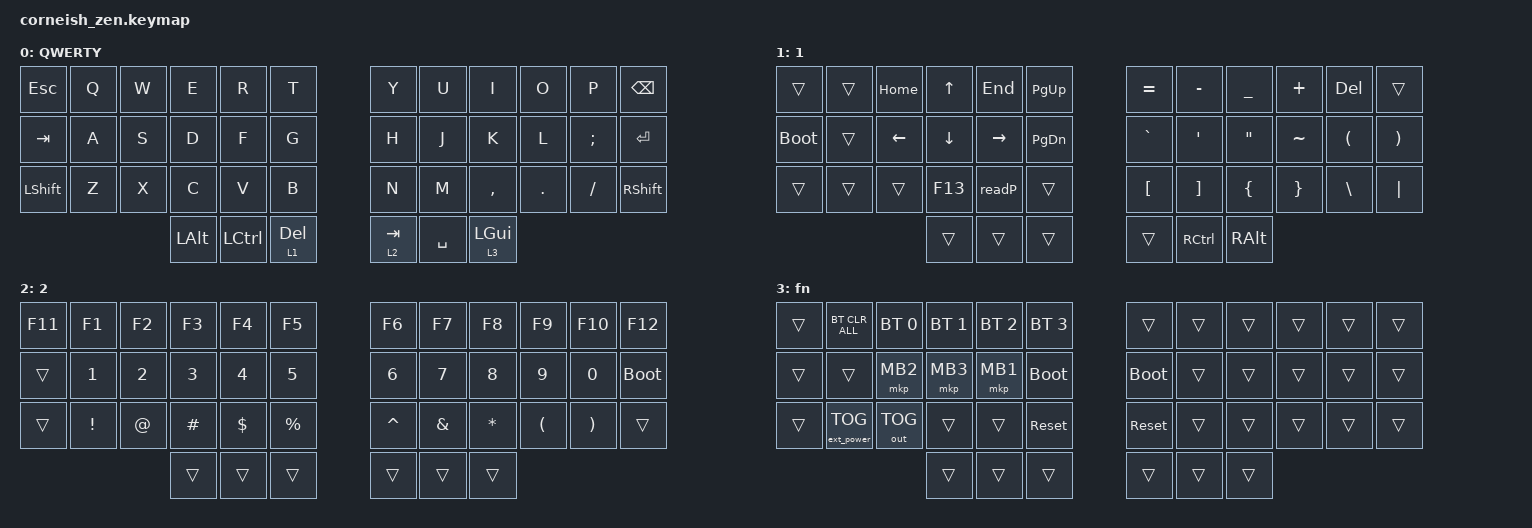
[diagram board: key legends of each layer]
/*
 * Copyright (c) 2020 The ZMK Contributors
 *
 * SPDX-License-Identifier: MIT
 */

#include <behaviors.dtsi>
#include <dt-bindings/zmk/bt.h>
#include <dt-bindings/zmk/ext_power.h>
#include <dt-bindings/zmk/keys.h>
#include <dt-bindings/zmk/mouse.h>
#include <dt-bindings/zmk/outputs.h>

/ {
    chosen {
        zmk,matrix_transform = &default_transform;

        // zmk,matrix_transform = &five_column_transform;
    };
};

/ {
    behaviors {
        td0: td0 {
            compatible = "zmk,behavior-tap-dance";
            label = "TD0";
            #binding-cells = <0>;
            bindings = <&kp LEFT_SHIFT>, <&kp CAPS>;
        };
    };

    macros {
        readP: readP {
            compatible = "zmk,behavior-macro";
            #binding-cells = <0>;
            bindings =
                <&mkp MB1 &mkp MB1 &mkp MB1 &kp F13>,
                <&macro_wait_time 500>,
                <&mkp MB1>;

            label = "READP";
        };
    };

    keymap {
        compatible = "zmk,keymap";

        default_layer {
            display-name = "QWERTY";

            // --------------------------------------------------------------------------------
            // |  TAB |  Q  |  W  |  E  |  R  |  T  |   |  Y  |  U   |  I  |  O  |  P  | BKSP |
            // | CTRL |  A  |  S  |  D  |  F  |  G  |   |  H  |  J   |  K  |  L  |  ;  |  '   | 
            // | SHFT |  Z  |  X  |  C  |  V  |  B  |   |  N  |  M   |  ,  |  .  |  /  | ESC  |
            //                    | GUI | LWR | SPC |   | ENT | RSE  | ALT |

            bindings = <
&kp ESC         &kp Q  &kp W  &kp E         &kp R      &kp T        &kp Y      &kp U      &kp I           &kp O    &kp P     &kp BSPC
&kp TAB         &kp A  &kp S  &kp D         &kp F      &kp G        &kp H      &kp J      &kp K           &kp L    &kp SEMI  &kp ENTER
&kp LEFT_SHIFT  &kp Z  &kp X  &kp C         &kp V      &kp B        &kp N      &kp M      &kp COMMA       &kp DOT  &kp FSLH  &kp RIGHT_SHIFT
                              &kp LEFT_ALT  &kp LCTRL  &lt 1 DEL    &lt 2 TAB  &kp SPACE  &lt 3 LEFT_GUI
            >;
        };

        lower_layer {
            display-name = "1";

            // -----------------------------------------------------------------------------------------
            // |  TAB |  1  |  2  |  3  |  4  |  5  |   |  6  |  7  |  8  |  9  |  0  | BKSP |
            // | BTCLR| BT1 | BT2 | BT3 | BT4 | BT5 |   | LFT | DWN |  UP | RGT |     |      |
            // | SHFT |     |     |     |     |     |   |     |     |     |     |     |      |
            //                    | GUI |     | SPC |   | ENT |     | ALT |

            bindings = <
&trans       &trans  &kp HOME  &kp UP    &kp END    &kp PG_UP    &kp EQUAL         &kp MINUS          &kp UNDER          &kp PLUS         &kp DEL               &trans
&bootloader  &trans  &kp LEFT  &kp DOWN  &kp RIGHT  &kp PG_DN    &kp GRAVE         &kp SQT            &kp DOUBLE_QUOTES  &kp TILDE        &kp LEFT_PARENTHESIS  &kp RIGHT_PARENTHESIS
&trans       &trans  &trans    &kp F13   &readP     &trans       &kp LEFT_BRACKET  &kp RIGHT_BRACKET  &kp LEFT_BRACE     &kp RIGHT_BRACE  &kp BACKSLASH         &kp PIPE
                               &trans    &trans     &trans       &trans            &kp RCTRL          &kp RIGHT_ALT
            >;
        };

        raise_layer {
            display-name = "2";

            // -----------------------------------------------------------------------------------------
            // |  TAB |  !  |  @  |  #  |  $  |  %  |   |  ^  |  &  |  *  |  (  |  )  | BKSP |
            // | CTRL |     |     |     |     |     |   |  -  |  =  |  [  |  ]  |  \  |  `   |
            // | SHFT |     |     |     |     |     |   |  _  |  +  |  {  |  }  | "|" |  ~   |
            //                    | GUI |     | SPC |   | ENT |     | ALT |

            bindings = <
&kp F11  &kp F1           &kp F2        &kp F3        &kp F4        &kp F5       &kp F6        &kp F7         &kp F8        &kp F9                &kp F10                &kp F12
&trans   &kp NUMBER_1     &kp NUMBER_2  &kp NUMBER_3  &kp NUMBER_4  &kp N5       &kp NUMBER_6  &kp NUMBER_7   &kp NUMBER_8  &kp NUMBER_9          &kp NUMBER_0           &bootloader
&trans   &kp EXCLAMATION  &kp AT_SIGN   &kp HASH      &kp DOLLAR    &kp PRCNT    &kp CARET     &kp AMPERSAND  &kp ASTERISK  &kp LEFT_PARENTHESIS  &kp RIGHT_PARENTHESIS  &trans
                                        &trans        &trans        &trans       &trans        &trans         &trans
            >;
        };

        layer_3 {
            bindings = <
&trans  &bt BT_CLR_ALL     &bt BT_SEL 0  &bt BT_SEL 1  &bt BT_SEL 2  &bt BT_SEL 3    &trans       &trans   &trans  &trans  &trans  &trans
&trans  &trans             &mkp MB2      &mkp MB3      &mkp MB1      &bootloader     &bootloader  &trans   &trans  &trans  &trans  &trans
&trans  &ext_power EP_TOG  &out OUT_TOG  &trans        &trans        &sys_reset      &sys_reset   &trans   &trans  &trans  &trans  &trans
                                         &trans        &trans        &trans          &trans       &trans   &trans
            >;

            label = "fn";
        };
    };
};
